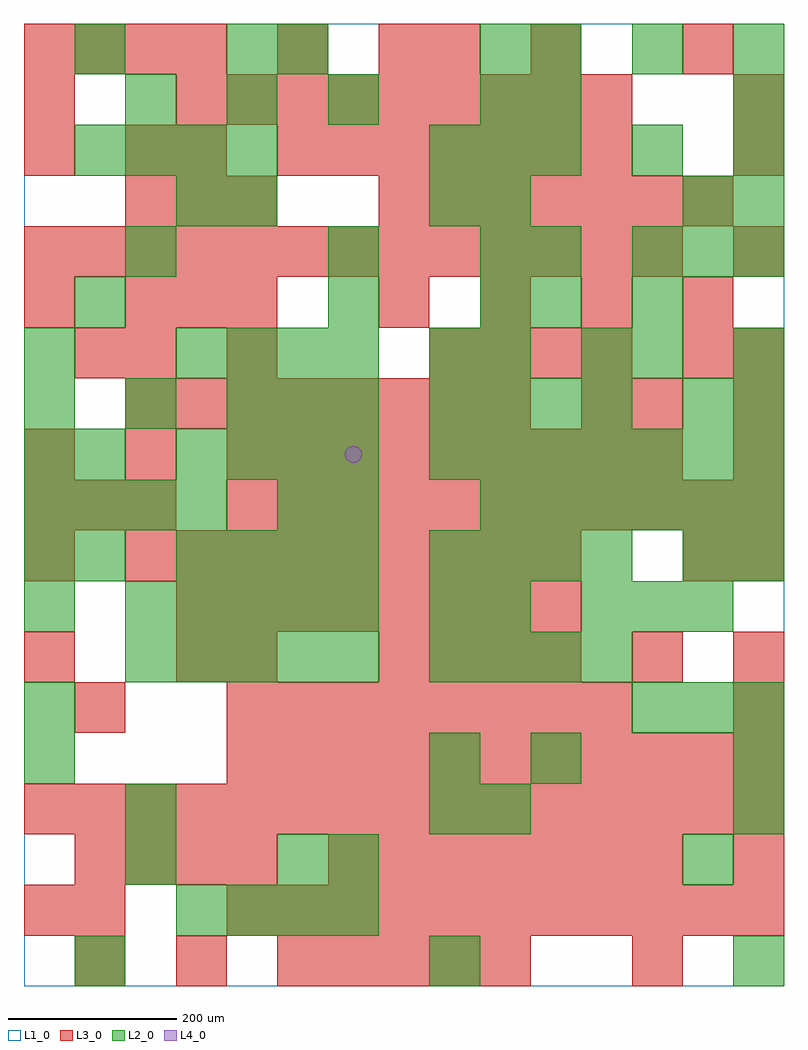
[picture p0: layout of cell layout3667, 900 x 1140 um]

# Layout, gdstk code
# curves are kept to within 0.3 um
import gdstk
lib = gdstk.Library(unit=1e-6, precision=1e-09)
def R(c, l, rs):  # rectangles x0, y0, x1, y1
    for r in rs: c.add(gdstk.rectangle(r[:2], r[2:], *l))
def A(c, l, x, y, w, h, nx, ny, dx, dy):  # array of equal rectangles
    R(c, l, [(x+i*dx, y+j*dy, x+i*dx+w, y+j*dy+h) for i in range(nx) for j in range(ny)])
def P(c, l, *ps):  # polygons
    for p in ps: c.add(gdstk.Polygon(p, *l))
L1_0 = (1, 0)
L2_0 = (2, 0)
L3_0 = (3, 0)
L4_0 = (4, 0)

layout3667 = lib.new_cell('layout3667')
R(layout3667, L1_0, [(0,0,900,1140)])
A(layout3667, L2_0, 180, 60, 60, 60, 4, 2, 60, 420)
A(layout3667, L2_0, 720, 300, 60, 60, 3, 2, 60, 540)
A(layout3667, L2_0, 120, 360, 60, 60, 5, 2, 60, 60)
A(layout3667, L2_0, 480, 360, 60, 60, 4, 2, 60, 120)
A(layout3667, L2_0, 660, 420, 60, 60, 3, 1, 60, 0)
A(layout3667, L2_0, 0, 480, 60, 60, 1, 3, 0, 120)
A(layout3667, L2_0, 0, 540, 60, 60, 4, 1, 60, 0)
A(layout3667, L2_0, 360, 540, 60, 60, 1, 3, 0, 120)
A(layout3667, L2_0, 540, 540, 60, 60, 6, 1, 60, 0)
A(layout3667, L2_0, 180, 600, 60, 60, 4, 2, 60, 120)
A(layout3667, L2_0, 480, 600, 60, 60, 7, 1, 60, 0)
A(layout3667, L2_0, 0, 660, 60, 60, 3, 1, 120, 0)
A(layout3667, L2_0, 480, 660, 60, 60, 4, 1, 60, 0)
A(layout3667, L2_0, 540, 720, 60, 60, 1, 4, 0, 60)
A(layout3667, L2_0, 840, 900, 60, 60, 1, 3, 0, 60)
A(layout3667, L2_0, 60, 960, 60, 60, 4, 1, 60, 0)
A(layout3667, L2_0, 480, 960, 60, 60, 3, 1, 60, 0)
A(layout3667, L2_0, 120, 1020, 60, 60, 3, 1, 120, 0)
A(layout3667, L2_0, 600, 1080, 60, 60, 3, 1, 120, 0)
R(layout3667, L2_0, [(60,0,120,60), (480,0,540,60), (840,0,900,60), (120,120,180,180), (300,120,360,180), (360,120,420,180), (780,120,840,180), (120,180,180,240), (480,180,540,240), (540,180,600,240), (840,180,900,240), (0,240,60,300), (480,240,540,300), (600,240,660,300), (840,240,900,300), (0,300,60,360), (0,420,60,480), (480,420,540,480), (540,420,600,480), (60,480,120,540), (780,480,840,540), (840,480,900,540), (300,540,360,600), (60,600,120,660), (300,660,360,720), (780,660,840,720), (840,660,900,720), (480,720,540,780), (660,720,720,780), (720,720,780,780), (840,720,900,780), (60,780,120,840), (600,780,660,840), (720,780,780,840), (120,840,180,900), (360,840,420,900), (600,840,660,900), (180,900,240,960), (240,900,300,960), (480,900,540,960), (780,900,840,960), (720,960,780,1020), (540,1020,600,1080), (600,1020,660,1080), (60,1080,120,1140), (240,1080,300,1140), (300,1080,360,1140), (540,1080,600,1140)])
A(layout3667, L3_0, 60, 0, 60, 60, 3, 1, 120, 0)
A(layout3667, L3_0, 360, 0, 60, 60, 4, 1, 60, 0)
A(layout3667, L3_0, 240, 60, 60, 60, 11, 2, 60, 180)
A(layout3667, L3_0, 60, 120, 60, 60, 4, 1, 60, 0)
A(layout3667, L3_0, 360, 120, 60, 60, 7, 1, 60, 0)
A(layout3667, L3_0, 0, 180, 60, 60, 15, 1, 60, 0)
A(layout3667, L3_0, 240, 300, 60, 60, 8, 1, 60, 0)
A(layout3667, L3_0, 420, 360, 60, 60, 4, 1, 60, 0)
A(layout3667, L3_0, 840, 360, 60, 60, 1, 3, 0, 120)
A(layout3667, L3_0, 180, 420, 60, 60, 8, 1, 60, 0)
A(layout3667, L3_0, 120, 480, 60, 60, 9, 1, 60, 0)
A(layout3667, L3_0, 0, 540, 60, 60, 3, 1, 60, 0)
A(layout3667, L3_0, 240, 540, 60, 60, 11, 1, 60, 0)
A(layout3667, L3_0, 0, 600, 60, 60, 3, 1, 120, 0)
A(layout3667, L3_0, 300, 600, 60, 60, 8, 1, 60, 0)
A(layout3667, L3_0, 120, 660, 60, 60, 8, 1, 60, 0)
A(layout3667, L3_0, 480, 720, 60, 60, 4, 1, 60, 0)
A(layout3667, L3_0, 840, 720, 60, 60, 1, 3, 0, 120)
A(layout3667, L3_0, 120, 780, 60, 60, 3, 2, 60, 120)
A(layout3667, L3_0, 420, 780, 60, 60, 4, 1, 120, 0)
A(layout3667, L3_0, 0, 840, 60, 60, 13, 1, 60, 0)
A(layout3667, L3_0, 420, 900, 60, 60, 7, 1, 60, 0)
A(layout3667, L3_0, 300, 960, 60, 60, 7, 1, 60, 0)
A(layout3667, L3_0, 180, 1020, 60, 60, 9, 1, 60, 0)
A(layout3667, L3_0, 0, 1080, 60, 60, 4, 1, 60, 0)
R(layout3667, L3_0, [(720,0,780,60), (0,60,60,120), (60,60,120,120), (840,120,900,180), (60,300,120,360), (840,300,900,360), (0,360,60,420), (180,360,240,420), (240,360,300,420), (720,360,780,420), (0,480,60,540), (780,480,840,540), (660,660,720,720), (720,660,780,720), (840,660,900,720), (60,720,120,780), (120,720,180,780), (240,720,300,780), (780,720,840,780), (0,780,60,840), (0,960,60,1020), (120,960,180,1020), (180,960,240,1020), (0,1020,60,1080), (840,1020,900,1080), (300,1080,360,1140), (420,1080,480,1140), (480,1080,540,1140), (600,1080,660,1140), (780,1080,840,1140)])
P(layout3667, L4_0, [(400,630),(399.239,633.827),(397.071,637.071),(393.827,639.239),(390,640),(386.173,639.239),(382.929,637.071),(380.761,633.827),(380,630),(380.761,626.173),(382.929,622.929),(386.173,620.761),(390,620),(393.827,620.761),(397.071,622.929),(399.239,626.173)])

lib.write_gds('layout3667.gds')
